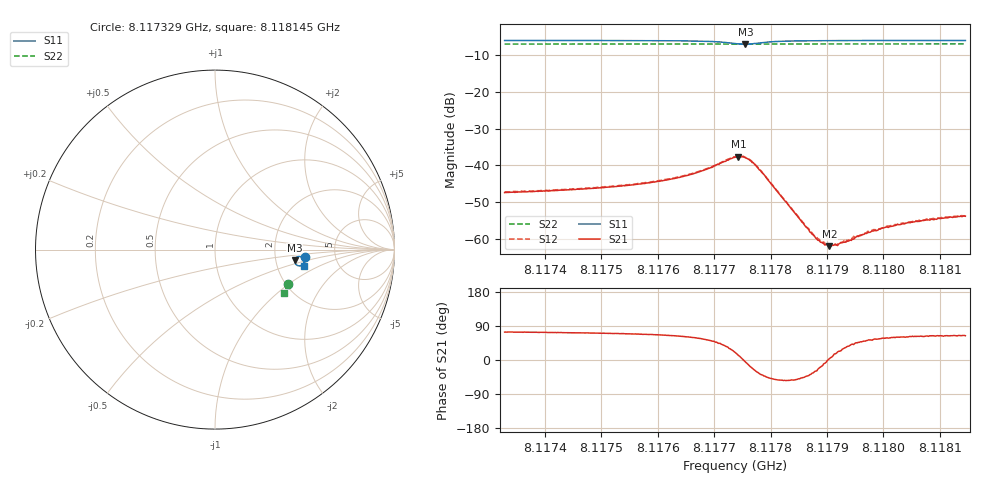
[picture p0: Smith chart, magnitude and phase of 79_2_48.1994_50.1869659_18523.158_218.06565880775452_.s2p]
#  HZ  S  RI  R  50.00
! Rohde & Schwarz Vector Network Analyzer
! Rohde-Schwarz,ZNB20-2Port,1311601062101988,3.16
! Created: UTC 3/20/2024, 11:39:36 AM
! freq[Hz]  re:S11  im:S11  re:S21  im:S21  re:S12  im:S12  re:S22  im:S22
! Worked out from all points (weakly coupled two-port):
!   401 points, 8.117329 GHz to 8.118145 GHz, reference 50 ohm
!   highest |S21| = -37.64 dB at 8.117743 GHz (marker M1); lowest = -62.1 dB at 8.117904 GHz (marker M2)
!   lowest |S11| = -7.0 dB at 8.117755 GHz (marker M3), VSWR 2.62, Z = 128 - j18.9 ohm
!   |S11| at or under -10 dB: nowhere
!   |S22| runs from -6.9 to -6.9 dB; largest |S21 - S12| = 0.00053
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8.1173287e9  0.5037 -0.0431  0.00119 0.00407  0.00126 0.00416  0.4092 -0.1911
8.1174654e9  0.5019 -0.0555  0.0015 0.0045  0.00159 0.00457  0.4053 -0.1999
8.1175512e9  0.4998 -0.0644  0.00192 0.00503  0.00203 0.00507  0.4028 -0.2055
8.1176022e9  0.4975 -0.0711  0.00243 0.00554  0.00255 0.00567  0.4011 -0.2087
8.1176634e9  0.4908 -0.0815  0.00394 0.0066  0.00411 0.00669  0.399 -0.2129
8.1176941e9  0.482 -0.0879  0.00586 0.00724  0.00603 0.0073  0.3976 -0.2149
8.1177369e9  0.4512 -0.0826  0.0121 0.00454  0.0124 0.00435  0.3951 -0.2168
8.1177431e9  0.4467 -0.0762  0.0128 0.00274  0.0131 0.0027  0.3947 -0.2167
8.1177553e9  0.4444 -0.0589  0.0126 -0.00109  0.0128 -0.00123  0.3946 -0.2168
8.1177696e9  0.4554 -0.0426  0.00986 -0.00448  0.00977 -0.00446  0.3949 -0.2171
8.1177859e9  0.4723 -0.0383  0.00598 -0.00498  0.00592 -0.00517  0.3951 -0.2179
8.1178737e9  0.4975 -0.0613  0.000945 -0.000654  0.000953 -0.000717  0.3933 -0.2246
8.117888e9  0.498 -0.0639  0.00085 -0.000291  0.000862 -0.000323  0.393 -0.2255
8.1178941e9  0.4982 -0.0649  0.000842 -0.000149  0.000885 -0.000176  0.3927 -0.226
8.1179043e9  0.4984 -0.0667  0.000787 5.05e-05  0.00083 1.98e-05  0.3924 -0.2266
8.1179186e9  0.4984 -0.0688  0.000751 0.000289  0.000795 0.000285  0.3918 -0.2276
8.1179431e9  0.4986 -0.0723  0.000714 0.000619  0.000765 0.00064  0.391 -0.229
8.1179533e9  0.4986 -0.0734  0.000756 0.000763  0.000769 0.000779  0.3907 -0.2298
8.1179758e9  0.4985 -0.0762  0.000736 0.000969  0.000755 0.001  0.3901 -0.2312
8.1180105e9  0.4983 -0.0799  0.000765 0.00123  0.000795 0.00127  0.3889 -0.2334
8.1180697e9  0.4975 -0.0857  0.000827 0.00157  0.000839 0.00159  0.3867 -0.237
8.1181452e9  0.4965 -0.0924  0.000881 0.00182  0.000887 0.00182  0.3843 -0.2419
